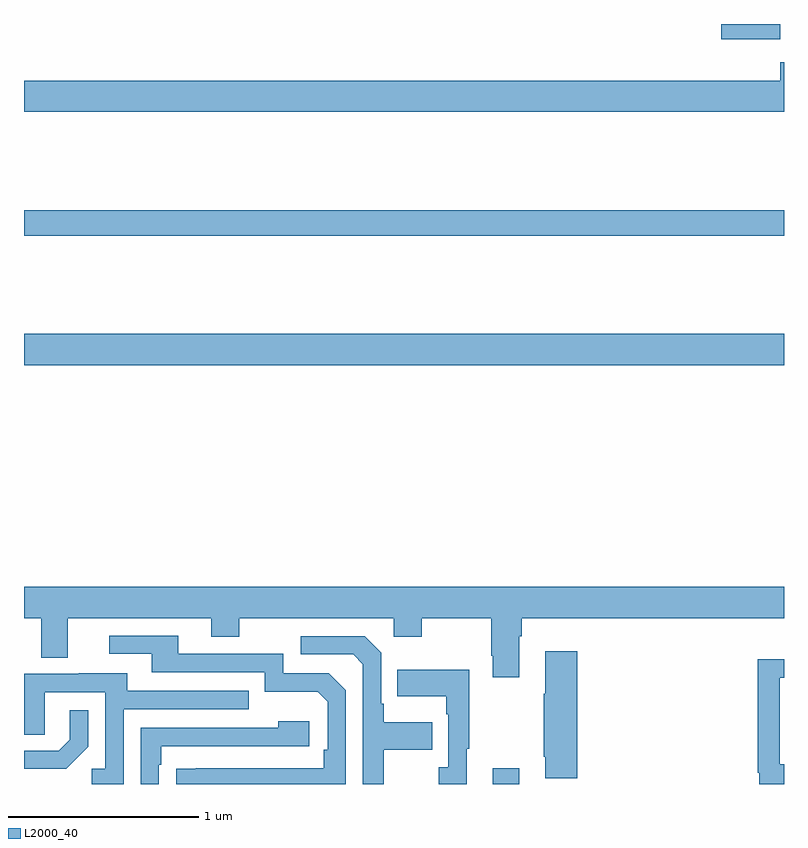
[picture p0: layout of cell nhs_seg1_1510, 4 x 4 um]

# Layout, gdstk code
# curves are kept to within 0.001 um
import gdstk
lib = gdstk.Library(unit=1e-6, precision=1e-09)
def R(c, l, rs):  # rectangles x0, y0, x1, y1
    for r in rs: c.add(gdstk.rectangle(r[:2], r[2:], *l))
def P(c, l, *ps):  # polygons
    for p in ps: c.add(gdstk.Polygon(p, *l))
L2000_40 = (2000, 40)

nhs_seg1_1510 = lib.new_cell('nhs_seg1_1510')
R(nhs_seg1_1510, L2000_40, [(195.467,544.199,195.607,544.282), (193,546.404,197,546.568), (193,547.084,197,547.22), (196.671,548.119,196.98,548.199)])
P(nhs_seg1_1510, L2000_40, [(197,547.999),(196.979,547.999),(196.979,547.9),(193,547.9),(193,547.736),(197,547.736)],
  [(195.607,544.976),(195.62,544.976),(195.62,545.072),(197,545.072),(197,545.236),(193,545.236),(193,545.072),(193.091,545.072),(193.091,544.864),(193.231,544.864),(193.231,545.072),(193.985,545.072),(193.985,544.973),(194.133,544.973),(194.133,545.072),(194.946,545.072),(194.946,544.973),(195.093,544.973),(195.093,545.072),(195.46,545.072),(195.46,544.873),(195.467,544.873),(195.467,544.761),(195.607,544.761)],
  [(194.694,544.692),(194.604,544.782),(194.364,544.782),(194.364,544.884),(193.813,544.884),(193.813,544.98),(193.449,544.98),(193.449,544.884),(193.673,544.884),(193.673,544.788),(194.268,544.788),(194.268,544.685),(194.545,544.685),(194.598,544.632),(194.598,544.378),(194.578,544.378),(194.578,544.281),(193.801,544.28),(193.801,544.199),(194.694,544.199)],
  [(194.893,544.378),(195.149,544.378),(195.149,544.525),(194.893,544.525),(194.893,544.621),(194.88,544.621),(194.88,544.89),(194.793,544.977),(194.457,544.977),(194.457,544.881),(194.733,544.881),(194.784,544.83),(194.784,544.199),(194.893,544.199)],
  [(195.911,544.897),(195.743,544.897),(195.743,544.673),(195.736,544.673),(195.736,544.342),(195.743,544.342),(195.743,544.23),(195.911,544.23)],
  [(197,544.302),(196.977,544.302),(196.977,544.758),(197,544.758),(197,544.856),(196.861,544.856),(196.861,544.258),(196.869,544.258),(196.869,544.199),(197,544.199)],
  [(195.331,544.385),(195.343,544.385),(195.343,544.801),(194.965,544.801),(194.965,544.661),(195.222,544.661),(195.222,544.565),(195.234,544.565),(195.234,544.286),(195.183,544.286),(195.183,544.199),(195.331,544.199)],
  [(193.524,544.593),(194.183,544.593),(194.183,544.689),(193.543,544.689),(193.543,544.783),(193.289,544.783),(193.289,544.779),(193,544.779),(193,544.459),(193.11,544.459),(193.11,544.683),(193.428,544.683),(193.428,544.278),(193.356,544.278),(193.356,544.199),(193.524,544.199)],
  [(193.338,544.394),(193.338,544.588),(193.241,544.588),(193.241,544.431),(193.184,544.374),(193,544.374),(193,544.278),(193.222,544.278)],
  [(193.71,544.301),(193.723,544.301),(193.723,544.398),(194.5,544.398),(194.5,544.528),(194.339,544.528),(194.339,544.494),(193.614,544.494),(193.614,544.199),(193.71,544.199)])

lib.write_gds('nhs_seg1_1510.gds')
